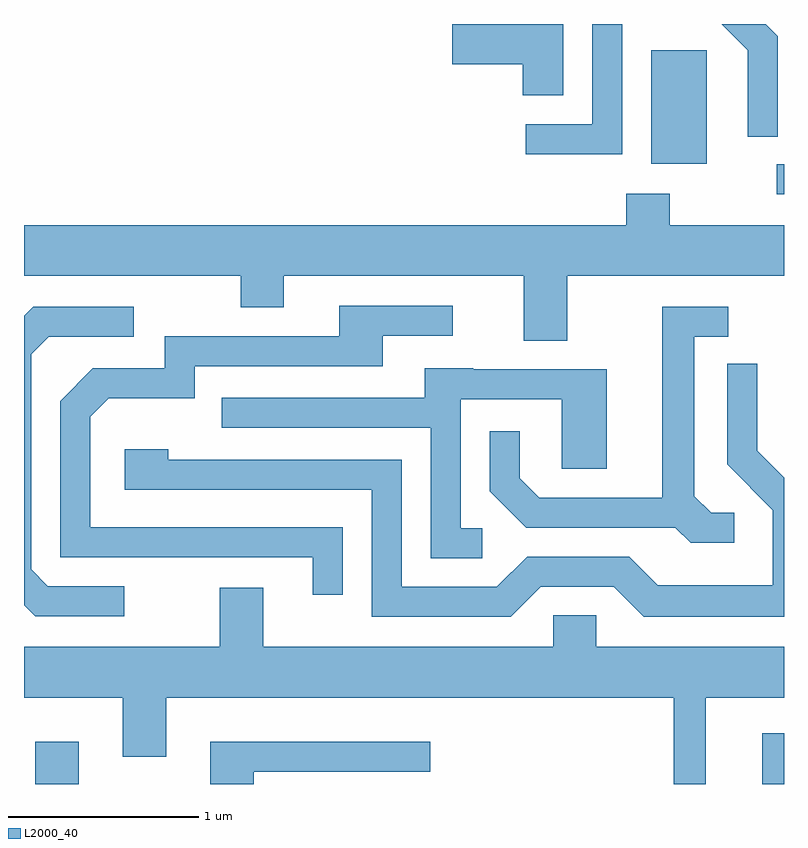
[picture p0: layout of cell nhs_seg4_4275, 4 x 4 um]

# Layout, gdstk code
import gdstk
lib = gdstk.Library(unit=1e-6, precision=1e-09)
def R(c, l, rs):  # rectangles x0, y0, x1, y1
    for r in rs: c.add(gdstk.rectangle(r[:2], r[2:], *l))
def P(c, l, *ps):  # polygons
    for p in ps: c.add(gdstk.Polygon(p, *l))
L2000_40 = (2000, 40)

nhs_seg4_4275 = lib.new_cell('nhs_seg4_4275')
R(nhs_seg4_4275, L2000_40, [(309.671,1371.982,309.899,1372.204), (313.496,1371.982,313.611,1372.248), (313.573,1375.086,313.611,1375.244), (312.911,1375.246,313.204,1375.844)])
P(nhs_seg4_4275, L2000_40, [(312.449,1375.982),(311.866,1375.982),(311.866,1375.771),(312.236,1375.771),(312.236,1375.606),(312.449,1375.606)],
  [(312.759,1375.982),(312.601,1375.982),(312.601,1375.454),(312.253,1375.454),(312.253,1375.296),(312.759,1375.296)],
  [(313.579,1375.917),(313.514,1375.982),(313.283,1375.982),(313.421,1375.844),(313.421,1375.388),(313.579,1375.388)],
  [(312.469,1374.656),(313.611,1374.656),(313.611,1374.924),(313.009,1374.924),(313.009,1375.089),(312.781,1375.089),(312.781,1374.924),(309.611,1374.924),(309.611,1374.656),(310.751,1374.656),(310.751,1374.491),(310.979,1374.491),(310.979,1374.656),(312.241,1374.656),(312.241,1374.316),(312.469,1374.316)],
  [(311.289,1373.334),(309.959,1373.334),(309.959,1373.914),(310.057,1374.011),(310.509,1374.011),(310.509,1374.181),(311.499,1374.181),(311.499,1374.341),(311.868,1374.341),(311.868,1374.499),(311.271,1374.499),(311.271,1374.339),(310.351,1374.339),(310.351,1374.169),(309.974,1374.169),(309.801,1373.997),(309.801,1373.176),(311.131,1373.176),(311.131,1372.978),(311.289,1372.978)],
  [(310.138,1373.024),(309.737,1373.024),(309.649,1373.112),(309.649,1374.244),(309.742,1374.336),(310.188,1374.336),(310.188,1374.494),(309.659,1374.494),(309.611,1374.446),(309.611,1372.924),(309.669,1372.866),(310.138,1372.866)],
  [(313.348,1373.409),(313.227,1373.409),(313.139,1373.497),(313.139,1374.336),(313.318,1374.336),(313.318,1374.494),(312.971,1374.494),(312.971,1373.489),(312.322,1373.489),(312.219,1373.592),(312.219,1373.838),(312.061,1373.838),(312.061,1373.524),(312.254,1373.331),(313.039,1373.331),(313.119,1373.251),(313.348,1373.251)],
  [(312.332,1373.021),(312.714,1373.021),(312.874,1372.861),(313.611,1372.861),(313.611,1373.595),(313.469,1373.737),(313.469,1374.193),(313.311,1374.193),(313.311,1373.664),(313.551,1373.424),(313.551,1373.029),(312.947,1373.029),(312.797,1373.179),(312.259,1373.179),(312.099,1373.019),(311.599,1373.019),(311.599,1373.689),(310.369,1373.689),(310.369,1373.744),(310.141,1373.744),(310.141,1373.531),(311.441,1373.531),(311.441,1372.861),(312.172,1372.861)],
  [(312.023,1373.329),(311.909,1373.329),(311.909,1374.006),(312.441,1374.006),(312.441,1373.641),(312.679,1373.641),(312.679,1374.164),(311.975,1374.164),(311.975,1374.169),(311.721,1374.169),(311.721,1374.014),(310.653,1374.014),(310.653,1373.856),(311.751,1373.856),(311.751,1373.171),(312.023,1373.171)],
  [(313.199,1372.436),(313.611,1372.436),(313.611,1372.704),(312.624,1372.704),(312.624,1372.869),(312.396,1372.869),(312.396,1372.704),(310.869,1372.704),(310.869,1373.014),(310.641,1373.014),(310.641,1372.704),(309.611,1372.704),(309.611,1372.436),(310.131,1372.436),(310.131,1372.126),(310.359,1372.126),(310.359,1372.436),(313.031,1372.436),(313.031,1371.982),(313.199,1371.982)],
  [(310.819,1372.046),(311.748,1372.046),(311.748,1372.204),(310.591,1372.204),(310.591,1371.982),(310.819,1371.982)])

lib.write_gds('nhs_seg4_4275.gds')
